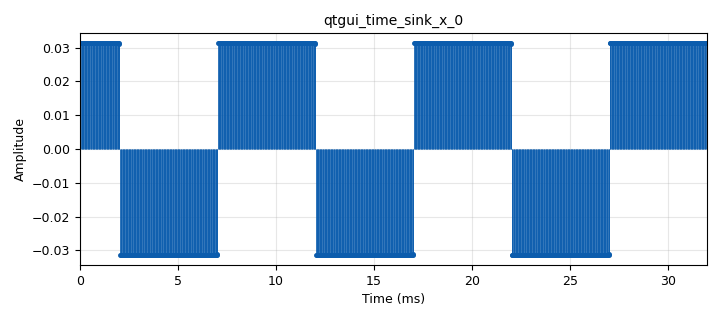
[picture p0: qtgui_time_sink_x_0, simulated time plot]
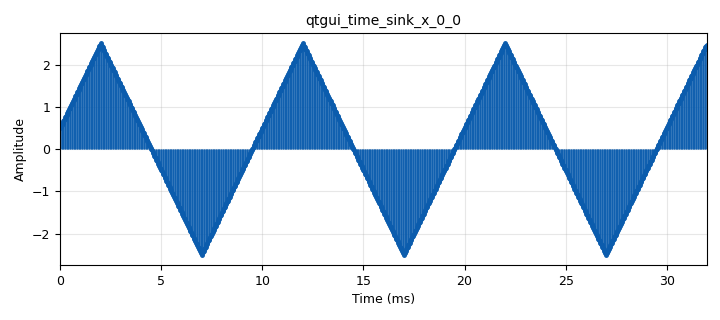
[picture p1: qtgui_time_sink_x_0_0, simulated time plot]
options:
  parameters:
    author: HailenDanielTatiana
    generate_options: qt_gui
    id: Diff
    output_language: python
    title: Diferenciador
  states: {}

blocks:
- name: samp_rate
  id: variable
  parameters:
    value: '32000'
  states: {}
- name: analog_sig_source_x_0
  id: analog_sig_source_x
  parameters:
    amp: '5'
    freq: '100'
    offset: '-2.5'
    phase: '0'
    samp_rate: samp_rate
    type: float
    waveform: analog.GR_TRI_WAVE
  states: {}
- name: epy_block_0
  id: epy_block
  parameters:
    _source_code: |
      import numpy as np
      from gnuradio import gr
      class blk(gr.sync_block):
          def __init__ ( self ) : # only default arguments here
              gr. sync_block . __init__ (
                  self ,
                  name ="e_Diff", # will show up in GRC
                  in_sig =[np.float32],
                  out_sig =[np.float32])
              self.last_sample=0
              
          def work (self , input_items , output_items ):
              x = input_items[0] # Senial de entrada .
              y = output_items[0] # Senial acumulada diferencial
              N = len(x)
              y[0] = x[0] - self.last_sample
              y[1:] = np.diff(x)
              self.last_sample = x[-1]
              
              return len(x)
  states: {}
- name: qtgui_time_sink_x_0
  id: qtgui_time_sink_x
  parameters:
    autoscale: 'True'
    grid: 'True'
    size: '1024'
    srate: samp_rate
    stemplot: 'True'
    type: float
    ymax: '50'
    ymin: '-50'
  states: {}
- name: qtgui_time_sink_x_0_0
  id: qtgui_time_sink_x
  parameters:
    autoscale: 'True'
    grid: 'True'
    size: '1024'
    srate: samp_rate
    stemplot: 'True'
    type: float
    ymax: '50'
    ymin: '-50'
  states: {}

connections:
- [analog_sig_source_x_0, '0', epy_block_0, '0']
- [analog_sig_source_x_0, '0', qtgui_time_sink_x_0_0, '0']
- [epy_block_0, '0', qtgui_time_sink_x_0, '0']

metadata:
  file_format: 1
  grc_version: 3.10.10.0
